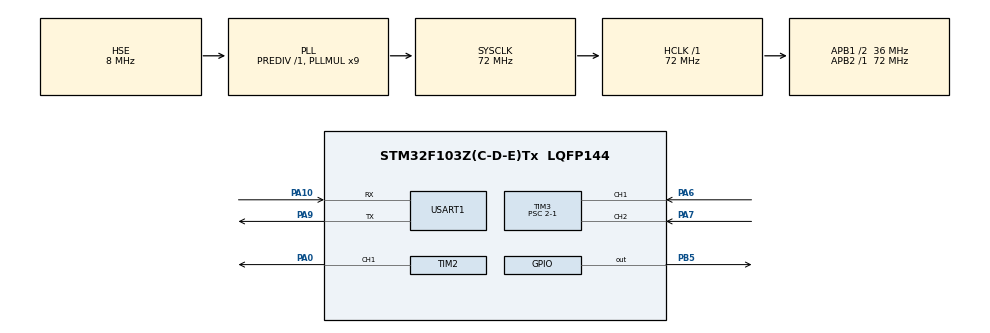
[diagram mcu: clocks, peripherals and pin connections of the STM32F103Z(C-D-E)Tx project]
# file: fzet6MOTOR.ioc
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Mcu.Family=STM32F1
Mcu.Name=STM32F103Z(C-D-E)Tx
Mcu.Package=LQFP144
NVIC.PriorityGroup=NVIC_PRIORITYGROUP_4
NVIC.TIM1_BRK_IRQn=true\:0\:0\:false\:false\:true\:true\:true\:true
NVIC.TIM1_UP_IRQn=true\:0\:0\:false\:false\:true\:true\:true\:true
NVIC.USART1_IRQn=true\:0\:0\:false\:false\:true\:true\:true\:true
OSC_IN.Mode=HSE-External-Oscillator
OSC_IN.Signal=RCC_OSC_IN
OSC_OUT.Mode=HSE-External-Oscillator
OSC_OUT.Signal=RCC_OSC_OUT
PA0-WKUP.Signal=S_TIM2_CH1_ETR
PA10.Mode=Asynchronous
PA10.Signal=USART1_RX
PA13.Mode=JTAG_5_pins
PA13.Signal=SYS_JTMS-SWDIO
PA14.Mode=JTAG_5_pins
PA14.Signal=SYS_JTCK-SWCLK
PA15.Mode=JTAG_5_pins
PA15.Signal=SYS_JTDI
PA6.Signal=S_TIM3_CH1
PA7.Signal=S_TIM3_CH2
PA9.Mode=Asynchronous
PA9.Signal=USART1_TX
PB3.Mode=JTAG_5_pins
PB3.Signal=SYS_JTDO-TRACESWO
PB4.Mode=JTAG_5_pins
PB4.Signal=SYS_NJTRST
PB5.GPIO_PuPd=GPIO_PULLUP
PB5.PinState=GPIO_PIN_SET
PB5.Signal=GPIO_Output
ProjectManager.HeapSize=0x200
ProjectManager.StackSize=0x400
ProjectManager.TargetToolchain=MDK-ARM V5.32
RCC.AHBFreq_Value=72000000
RCC.APB1CLKDivider=RCC_HCLK_DIV2
RCC.APB1Freq_Value=36000000
RCC.APB1TimFreq_Value=72000000
RCC.APB2Freq_Value=72000000
RCC.APB2TimFreq_Value=72000000
RCC.HCLKFreq_Value=72000000
RCC.PLLMUL=RCC_PLL_MUL9
RCC.PLLSourceVirtual=RCC_PLLSOURCE_HSE
RCC.SYSCLKFreq_VALUE=72000000
RCC.SYSCLKSource=RCC_SYSCLKSOURCE_PLLCLK
RCC.USBFreq_Value=72000000
SH.S_TIM2_CH1_ETR.0=TIM2_CH1,PWM Generation1 CH1
SH.S_TIM3_CH1.0=TIM3_CH1,Encoder_Interface
SH.S_TIM3_CH2.0=TIM3_CH2,Encoder_Interface
TIM1.Period=9999
TIM1.Prescaler=7199
TIM2.Channel-PWM\ Generation1\ CH1=TIM_CHANNEL_1
TIM2.Period=100-1
TIM2.Prescaler=72-1
TIM2.Pulse-PWM\ Generation1\ CH1=50
TIM3.Prescaler=2-1
USART1.VirtualMode=VM_ASYNC
VP_TIM1_VS_ClockSourceINT.Mode=Internal
VP_TIM2_VS_ClockSourceINT.Mode=Internal
board=custom

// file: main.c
/* USER CODE BEGIN Header */
/**
  ******************************************************************************
  * @file           : main.c
  * @brief          : Main program body
  ******************************************************************************
  * @attention
  *
  * Copyright (c) 2025 STMicroelectronics.
  * All rights reserved.
  *
  * This software is licensed under terms that can be found in the LICENSE file
  * in the root directory of this software component.
  * If no LICENSE file comes with this software, it is provided AS-IS.
  *
  ******************************************************************************
  */
/* USER CODE END Header */
#include "main.h"
#include "tim.h"
#include "usart.h"
#include "gpio.h"

/* USER CODE BEGIN Includes */
#include "drv8833.h"
#include <stdio.h>
#include <string.h>
#include <stdlib.h>
#include <stdint.h>
#include <math.h>
/* USER CODE END Includes */

/* USER CODE BEGIN PV */
int speed_value = 41;      // 初始速度值
char rx_buffer[3] = {0};   // 串口接收缓冲区
char message[50];          // 消息缓冲区
volatile uint8_t uart_rx_complete = 0;  // 新增接收完成标志
int count=0;
float wspeed=0;
uint8_t RxBuffer[1];//串口接收缓冲
uint16_t RxLine = 0;//指令长度
uint8_t DataBuff[200];//指令内容
/* USER CODE END PV */

void SystemClock_Config(void);

/* USER CODE BEGIN 0 */
//struct _pid
//	{
//		float SetSpeed; //定义设定值
//		float ActualSpeed; //定义实际值
//		float err; //定义偏差值
//		float err_next; //定义上一个偏差值
//		float err_last; //定义最上前的偏差值
//		float Kp, Ki, Kd; //定义比例、积分、微分系数
//	}pid;

//	void PID_init()
//	{
//		pid.SetSpeed = 60.0;
//		pid.ActualSpeed = 0.0;
//		pid.err = 0.0;
//		pid.err_last = 0.0;
//		pid.err_next = 0.0;
//		pid.Kp = 0.2;
//		pid.Ki = 0.015;
//		pid.Kd = 0.2;
//	}

//	float PID_realize(float speed)
//	{
//		int index;
//		pid.SetSpeed = speed;
//		pid.err = pid.SetSpeed - pid.ActualSpeed;
//		if (abs(pid.err) > 200)
//		{
//			index = 0;
//		}
//		else
//		{
//			index = 1;
//		}

//		float incrementSpeed = pid.Kp*(pid.err - pid.err_next) + index * pid.Ki*pid.err + pid.Kd*(pid.err - 2 * pid.err_next + pid.err_last);
//		pid.ActualSpeed += incrementSpeed;
//		pid.err_last = pid.err_next;
//		pid.err_next = pid.err;
//		return pid.ActualSpeed;
//	}
void USART_PID_Adjust(uint8_t Motor_n);
typedef struct
{
	float target_val;   //目标值
	float Error;          /*第 k 次偏差 */
	float LastError;     /* Error[-1],第 k-1 次偏差 */
	float PrevError;    /* Error[-2],第 k-2 次偏差 */
	float Kp,Ki,Kd;     //比例、积分、微分系数
	float integral;     //积分值
	float output_val;   //输出值
}PID;
PID PosionPID;
/**
  * @brief  PID参数初始化
  *	@note 	无
  * @retval 无
  */
void PID_param_init()
{
	PosionPID.target_val=7.1;
	PosionPID.output_val=0.0;
	PosionPID.Error=0.0;
	PosionPID.LastError=0.0;
	PosionPID.integral=0.0;
	PosionPID.Kp = 10.0;
	PosionPID.Ki = 0.5;
	PosionPID.Kd = 2.8;
}
/**
  * @brief  位置PID算法实现
  * @param  actual_val:实际测量值
  *	@note 	无
  * @retval 通过PID计算后的输出
  */
float PosionPID_realize(PID *pid, float actual_val)
{
	/*计算目标值与实际值的误差*/
	pid->Error = pid->target_val - actual_val;
	/*积分项*/
	pid->integral += pid->Error;
	/*PID算法实现*/
	pid->output_val = pid->Kp * pid->Error +
	                  pid->Ki * pid->integral +
	                  pid->Kd *(pid->Error -pid->LastError);
	/*误差传递*/
	pid-> LastError = pid->Error;
	/*返回当前实际值*/
	return pid->output_val;
}
void HAL_UART_RxCpltCallback(UART_HandleTypeDef *huart)
{
	if(huart == &huart1)
    {
        RxLine++;                      //每接收到一个数据，进入回调数据长度加1
        DataBuff[RxLine-1]=RxBuffer[0];  //把每次接收到的数据保存到缓存数组
        if(RxBuffer[0]==0x21)            //接收结束标志位，这个数据可以自定义，根据实际需求，这里只做示例使用，不一定是0x21
        {
            printf("RXLen=%d\r\n",RxLine);
            for(int i=0;i<RxLine;i++)
                printf("UART DataBuff[%d] = %c\r\n",i,DataBuff[i]);
            USART_PID_Adjust(1);//数据解析和参数赋值函数
            memset(DataBuff,0,sizeof(DataBuff));  //清空缓存数组
            RxLine=0;  //清空接收长度
        }
        RxBuffer[0]=0;
        HAL_UART_Receive_IT(&huart1, (uint8_t *)RxBuffer, 1); //每接收一个数据，就打开一次串口中断接收，否则只会接收一个数据就停止接收
   }
}
/*
 * 解析出DataBuff中的数据
 * 返回解析得到的数据
 */
float Get_Data(void)
{
    uint8_t data_Start_Num = 0; // 记录数据位开始的地方
    uint8_t data_End_Num = 0; // 记录数据位结束的地方
    uint8_t data_Num = 0; // 记录数据位数
    float data_return = 0; // 解析得到的数据
    for(uint8_t i=0;i<200;i++) // 查找等号和感叹号的位置
    {
        if(DataBuff[i] == '=') data_Start_Num = i + 1; // +1是直接定位到数据起始位
        if(DataBuff[i] == '!')
        {
            data_End_Num = i - 1;
            break;
        }
    }
    data_Num = data_End_Num - data_Start_Num + 1;
    if(data_Num == 4) // 数据共4位
    {
        data_return = (DataBuff[data_Start_Num]-48)  + (DataBuff[data_Start_Num+2]-48)*0.1f +
                (DataBuff[data_Start_Num+3]-48)*0.01f;
    }
    else if(data_Num == 5) // 数据共5位
    {
        data_return = (DataBuff[data_Start_Num]-48)*10 + (DataBuff[data_Start_Num+1]-48) + (DataBuff[data_Start_Num+3]-48)*0.1f +
                (DataBuff[data_Start_Num+4]-48)*0.01f;
    }
    else if(data_Num == 6) // 数据共6位
    {
        data_return = (DataBuff[data_Start_Num]-48)*100 + (DataBuff[data_Start_Num+1]-48)*10 + (DataBuff[data_Start_Num+2]-48) +
                (DataBuff[data_Start_Num+4]-48)*0.1f + (DataBuff[data_Start_Num+5]-48)*0.01f;
    }
//    printf("data=%.2f\r\n",data_return);
    return data_return;
}

void USART_PID_Adjust(uint8_t Motor_n)
{
    float data_Get = Get_Data(); // 存放接收到的数据
//    printf("data=%.2f\r\n",data_Get);
    if(Motor_n == 1)//左边电机
    {
        if(DataBuff[0]=='P' && DataBuff[1]=='1') //速度环P
            PosionPID.Kp = data_Get;
        else if(DataBuff[0]=='I' && DataBuff[1]=='1') // 速度环I
            PosionPID.Ki = data_Get;
        else if(DataBuff[0]=='D' && DataBuff[1]=='1') // 速度环D
            PosionPID.Kd = data_Get;
        else if((DataBuff[0]=='R' && DataBuff[1]=='1')) //目标位置
            PosionPID.target_val = data_Get;
    }
//    else if(Motor_n == 0) // 右边电机
//    {
//        if(DataBuff[0]=='P' && DataBuff[1]=='1') // 位置环P
//            pid_r_position.kp = data_Get;
//        else if(DataBuff[0]=='I' && DataBuff[1]=='1') // 位置环I
//            pid_r_position.ki = data_Get;
//        else if(DataBuff[0]=='D' && DataBuff[1]=='1') // 位置环D
//            pid_r_position.kd = data_Get;
//        else if(DataBuff[0]=='P' && DataBuff[1]=='2') // 速度环P
//            pid_r_speed.kp = data_Get;
//        else if(DataBuff[0]=='I' && DataBuff[1]=='2') // 速度环I
//            pid_r_speed.ki = data_Get;
//        else if(DataBuff[0]=='D' && DataBuff[1]=='2') // 速度环D
//            pid_r_speed.kd = data_Get;
//        else if((DataBuff[0]=='S' && DataBuff[1]=='p') && DataBuff[2]=='e') //目标速度
//            R_Target_Speed = data_Get;
//        else if((DataBuff[0]=='P' && DataBuff[1]=='o') && DataBuff[2]=='s') //目标位置
//            R_Target_Position = data_Get;
//    }
}
void HAL_TIM_PeriodElapsedCallback(TIM_HandleTypeDef *htim)
{
	if(htim==&htim1)
	{

		count=__HAL_TIM_GetCounter(&htim3);
		__HAL_TIM_SET_COUNTER(&htim3,0);
		wspeed=(float)count/26;
		float act_speed_pwm;
		act_speed_pwm=PosionPID_realize(&PosionPID,wspeed);
//		if(act_wspeed>wspeed) speed_value+=2;
//		else speed_value-=2;
		speed_value=(int)act_speed_pwm;
		if(speed_value< 41) speed_value= 41;
    else if(speed_value> 70) speed_value= 70;
		__HAL_TIM_SET_COMPARE(&htim2, TIM_CHANNEL_1, speed_value);
//		sprintf(message,"wspeed:%.1fr/s",wspeed);
		printf("%.1f,%.1f\n",wspeed,act_speed_pwm);
	}
}

/* USER CODE END 0 */

int main(void)
{

  /* MCU Configuration--------------------------------------------------------*/

  /* Reset of all peripherals, Initializes the Flash interface and the Systick. */
  HAL_Init();

  /* Configure the system clock */
  SystemClock_Config();

  /* Initialize all configured peripherals */
  MX_GPIO_Init();
	MX_TIM1_Init();
  MX_TIM2_Init();
  MX_TIM3_Init();
  MX_USART1_UART_Init();
//  MX_TIM1_Init();
  /* USER CODE BEGIN 2 */
//	DRV8833_Init();
//	int count=0;
//	int speed=0;
  PID_param_init();
  __HAL_TIM_SET_COUNTER(&htim3,0);
  HAL_TIM_PWM_Start(&htim2,TIM_CHANNEL_1);
//	HAL_TIM_Base_Start_IT(&htim1);
	HAL_TIM_Encoder_Start(&htim3,TIM_CHANNEL_ALL);
	__HAL_TIM_SET_COMPARE(&htim2, TIM_CHANNEL_1, speed_value);

  HAL_UART_Receive_IT(&huart1,(uint8_t *)RxBuffer,1);
	HAL_TIM_Base_Start_IT(&htim1);
  /* USER CODE END 2 */

  /* Infinite loop */
  /* USER CODE BEGIN WHILE */
  while (1)
  {
		HAL_GPIO_TogglePin(GPIOB,GPIO_PIN_5);
//		HAL_Delay(1000);
//		count=__HAL_TIM_GetCounter(&htim3);
//    __HAL_TIM_SET_COUNTER(&htim3,0);
//		wspeed=(float)count/260;
//		PID_realize(wspeed);
//		printf("%.1f,%d\n",wspeed,speed_value);

//		count=30;
//		speed=(30-20)*100/20;
//		DRV8833_Forward(speed);
//		HAL_Delay(100);
    /* USER CODE END WHILE */

  }
}

void SystemClock_Config(void)
{
  RCC_OscInitTypeDef RCC_OscInitStruct = {0};
  RCC_ClkInitTypeDef RCC_ClkInitStruct = {0};

  /** Initializes the RCC Oscillators according to the specified parameters
  * in the RCC_OscInitTypeDef structure.
  */
  RCC_OscInitStruct.OscillatorType = RCC_OSCILLATORTYPE_HSE;
  RCC_OscInitStruct.HSEState = RCC_HSE_ON;
  RCC_OscInitStruct.HSEPredivValue = RCC_HSE_PREDIV_DIV1;
  RCC_OscInitStruct.HSIState = RCC_HSI_ON;
  RCC_OscInitStruct.PLL.PLLState = RCC_PLL_ON;
  RCC_OscInitStruct.PLL.PLLSource = RCC_PLLSOURCE_HSE;
  RCC_OscInitStruct.PLL.PLLMUL = RCC_PLL_MUL9;
  if (HAL_RCC_OscConfig(&RCC_OscInitStruct) != HAL_OK)
  {
    Error_Handler();
  }

  /** Initializes the CPU, AHB and APB buses clocks
  */
  RCC_ClkInitStruct.ClockType = RCC_CLOCKTYPE_HCLK|RCC_CLOCKTYPE_SYSCLK
                              |RCC_CLOCKTYPE_PCLK1|RCC_CLOCKTYPE_PCLK2;
  RCC_ClkInitStruct.SYSCLKSource = RCC_SYSCLKSOURCE_PLLCLK;
  RCC_ClkInitStruct.AHBCLKDivider = RCC_SYSCLK_DIV1;
  RCC_ClkInitStruct.APB1CLKDivider = RCC_HCLK_DIV2;
  RCC_ClkInitStruct.APB2CLKDivider = RCC_HCLK_DIV1;

  if (HAL_RCC_ClockConfig(&RCC_ClkInitStruct, FLASH_LATENCY_2) != HAL_OK)
  {
    Error_Handler();
  }
}

/* USER CODE BEGIN 4 */
int fputc(int ch,FILE *f)
{
	HAL_UART_Transmit(&huart1,(uint8_t*)&ch,1,HAL_MAX_DELAY);
	return ch;
}

/* USER CODE END 4 */

void Error_Handler(void)
{
  __disable_irq();
  while (1)
  {
  }
}
